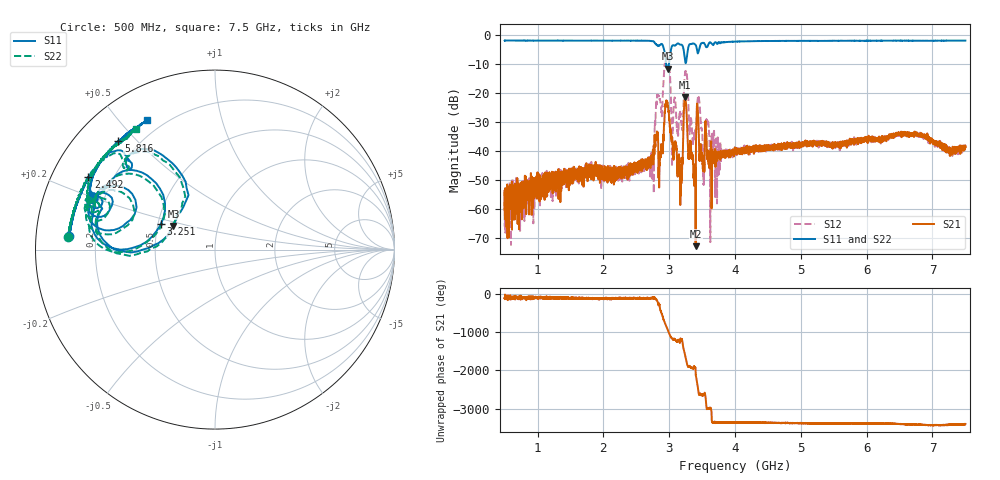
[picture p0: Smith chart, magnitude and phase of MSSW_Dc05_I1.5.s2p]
!Keysight Technologies,M9374A,MY55442783,A.12.55.05
!Date: Wednesday, May 19, 2021 19:02:21
!Correction: S11(Full 2 Port(1,2))
!S21(Full 2 Port(1,2))
!S12(Full 2 Port(1,2))
!S22(Full 2 Port(1,2))
!S2P File: Measurements: S11, S21, S12, S22:
# Hz S  RI  R 50
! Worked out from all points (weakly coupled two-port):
!   7001 points, 500 MHz to 7.5 GHz, reference 50 ohm
!   highest |S21| = -21.35 dB at 3.243 GHz (marker M1); lowest = -72.6 dB at 3.402 GHz (marker M2)
!   lowest |S11| = -11.5 dB at 2.98 GHz (marker M3), VSWR 1.73, Z = 30.3 + j8.54 ohm
!   |S11| at or under -10 dB: 2.954 GHz to 2.996 GHz (41.68 MHz wide, 1.4 % of centre)
!   |S22| runs from -11.4 to -1.7 dB; largest |S21 - S12| = 0.38
!   S11 on the Smith chart (normalised r, x): 500 MHz: 0.10, +0.05; 2.492 GHz: 0.11, +0.26; 3.251 GHz: 0.52, +0.17; 5.816 GHz: 0.13, +0.44; 7.5 GHz: 0.14, +0.60
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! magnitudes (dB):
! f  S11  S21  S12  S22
! 500 MHz  -1.8  -60.2  -53.9  -1.7
! 1.667 GHz  -1.8  -46.5  -46.0  -1.8
! 2.492 GHz  -1.8  -45.3  -45.1  -1.8
! 2.738 GHz  -2.0  -43.2  -42.4  -2.0
! 2.834 GHz  -3.6  -38.5  -20.6  -3.5
! 2.872 GHz  -3.1  -40.1  -24.2  -3.1
! 2.98 GHz  -11.5  -24.3  -7.6  -11.3
! 3.046 GHz  -3.6  -36.5  -40.5  -3.5
! 3.157 GHz  -3.1  -43.3  -26.7  -3.0
! 3.243 GHz  -8.9  -21.3  -12.8  -9.1
! 3.251 GHz  -9.6  -22.5  -12.3  -9.7
! 3.369 GHz  -2.8  -48.9  -35.9  -2.7
! 3.402 GHz  -3.3  -72.6  -32.8  -3.3
! 3.449 GHz  -5.4  -32.4  -21.3  -5.3
! 3.518 GHz  -2.5  -45.4  -48.5  -2.5
! 3.578 GHz  -4.0  -42.3  -30.2  -3.9
! 3.723 GHz  -2.8  -41.8  -40.9  -2.7
! 4 GHz  -2.1  -39.6  -40.9  -2.1
! 5.167 GHz  -1.9  -37.4  -37.7  -1.8
! 5.816 GHz  -1.8  -37.1  -36.6  -1.9
! 6.334 GHz  -1.8  -35.1  -34.5  -2.0
! 7.5 GHz  -1.8  -38.5  -38.7  -1.9
